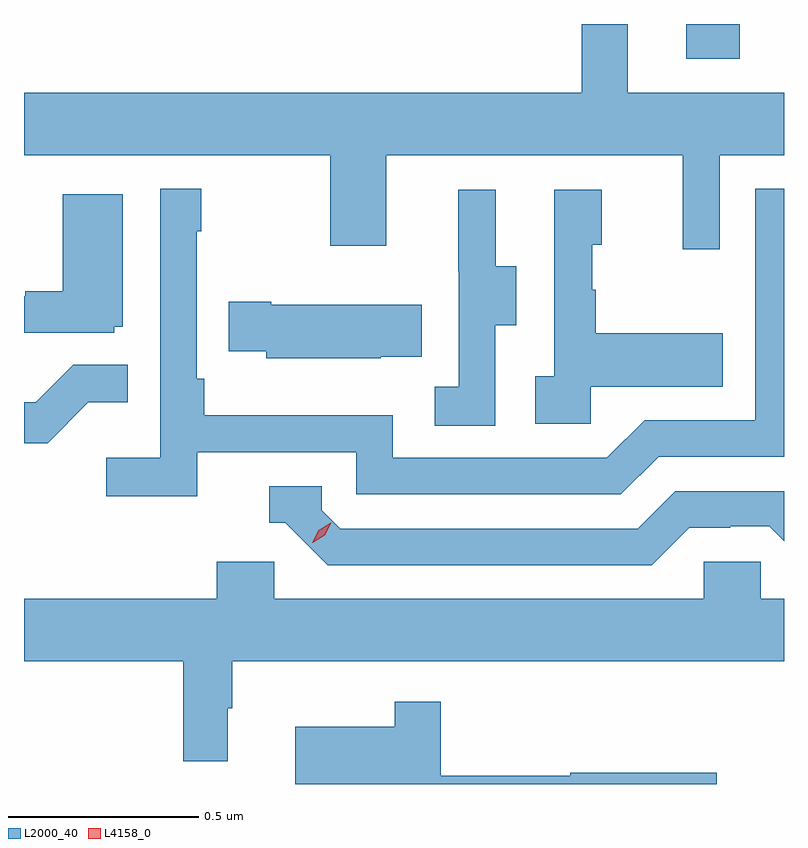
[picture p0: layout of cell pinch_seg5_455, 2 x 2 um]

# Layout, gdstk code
import gdstk
lib = gdstk.Library(unit=1e-6, precision=1e-09)
def R(c, l, rs):  # rectangles x0, y0, x1, y1
    for r in rs: c.add(gdstk.rectangle(r[:2], r[2:], *l))
def P(c, l, *ps):  # polygons
    for p in ps: c.add(gdstk.Polygon(p, *l))
L2000_40 = (2000, 40)
L4158_0 = (4158, 0)

pinch_seg5_455 = lib.new_cell('pinch_seg5_455')
R(pinch_seg5_455, L2000_40, [(939.323,870.333,939.463,870.425)])
P(pinch_seg5_455, L2000_40, [(939.411,870.08),(939.58,870.08),(939.58,870.244),(939.169,870.244),(939.169,870.425),(939.048,870.425),(939.048,870.244),(937.58,870.244),(937.58,870.08),(938.386,870.08),(938.386,869.841),(938.533,869.841),(938.533,870.08),(939.314,870.08),(939.314,869.832),(939.411,869.832)],
  [(938.036,869.298),(938.454,869.298),(938.454,869.187),(939.151,869.187),(939.25,869.286),(939.58,869.286),(939.58,869.991),(939.504,869.991),(939.504,869.382),(939.213,869.382),(939.114,869.283),(938.55,869.283),(938.55,869.395),(938.054,869.395),(938.054,869.491),(938.034,869.491),(938.034,869.879),(938.047,869.879),(938.047,869.992),(937.938,869.992),(937.938,869.284),(937.797,869.284),(937.797,869.182),(938.036,869.182)],
  [(939.072,869.471),(939.419,869.471),(939.419,869.611),(939.085,869.611),(939.085,869.726),(939.075,869.726),(939.075,869.844),(939.1,869.844),(939.1,869.989),(938.976,869.989),(938.976,869.498),(938.925,869.498),(938.925,869.373),(939.072,869.373)],
  [(938.82,869.632),(938.875,869.632),(938.875,869.787),(938.821,869.787),(938.821,869.989),(938.723,869.989),(938.723,869.775),(938.724,869.775),(938.724,869.471),(938.661,869.471),(938.661,869.368),(938.82,869.368)],
  [(937.818,869.628),(937.84,869.628),(937.84,869.977),(937.682,869.977),(937.682,869.722),(937.583,869.722),(937.583,869.709),(937.58,869.709),(937.58,869.613),(937.818,869.613)],
  [(938.519,869.549),(938.627,869.549),(938.627,869.686),(938.23,869.686),(938.23,869.694),(938.119,869.694),(938.119,869.564),(938.217,869.564),(938.217,869.546),(938.519,869.546)],
  [(937.749,869.429),(937.853,869.429),(937.853,869.528),(937.709,869.528),(937.611,869.43),(937.58,869.43),(937.58,869.322),(937.642,869.322)],
  [(939.331,869.1),(939.438,869.1),(939.438,869.103),(939.541,869.103),(939.58,869.064),(939.58,869.196),(939.294,869.196),(939.195,869.097),(938.412,869.097),(938.364,869.145),(938.364,869.208),(938.225,869.208),(938.225,869.112),(938.268,869.112),(938.379,869.001),(939.232,869.001)],
  [(938.116,868.625),(938.128,868.625),(938.128,868.748),(939.58,868.748),(939.58,868.912),(939.519,868.912),(939.519,869.01),(939.369,869.01),(939.369,868.912),(938.238,868.912),(938.238,869.01),(938.087,869.01),(938.087,868.912),(937.58,868.912),(937.58,868.748),(937.999,868.748),(937.999,868.485),(938.116,868.485)],
  [(939.403,868.455),(939.018,868.455),(939.018,868.447),(938.677,868.447),(938.677,868.642),(938.556,868.642),(938.556,868.576),(938.294,868.576),(938.294,868.425),(939.403,868.425)])
P(pinch_seg5_455, L4158_0, [(938.339,869.06),(938.339,869.06),(938.356,869.093),(938.387,869.112),(938.388,869.112),(938.388,869.112),(938.371,869.079),(938.34,869.06)])

lib.write_gds('pinch_seg5_455.gds')
